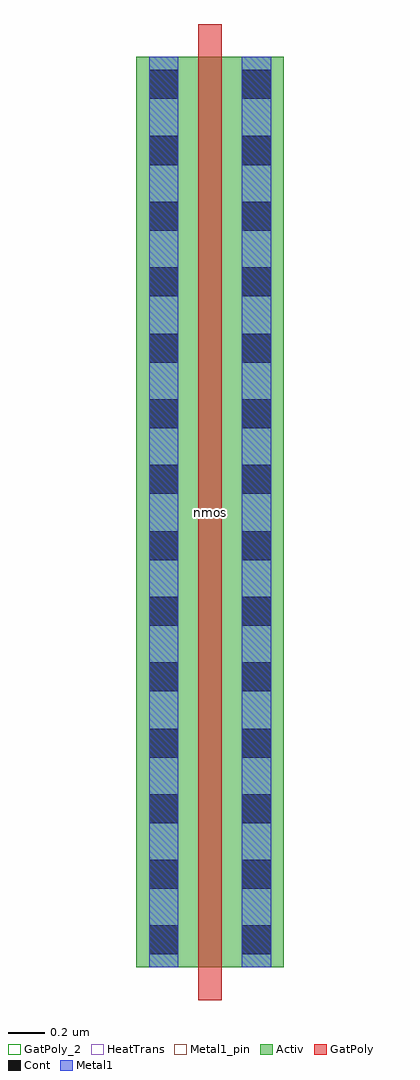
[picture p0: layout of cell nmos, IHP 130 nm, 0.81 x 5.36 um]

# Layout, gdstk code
import gdstk
lib = gdstk.Library(unit=1e-6, precision=1e-09)
def R(c, l, rs):  # rectangles x0, y0, x1, y1
    for r in rs: c.add(gdstk.rectangle(r[:2], r[2:], *l))
def A(c, l, x, y, w, h, nx, ny, dx, dy):  # array of equal rectangles
    R(c, l, [(x+i*dx, y+j*dy, x+i*dx+w, y+j*dy+h) for i in range(nx) for j in range(ny)])
Activ = (1, 0)
GatPoly = (5, 0)
GatPoly_2 = (5, 2)
Cont = (6, 0)
Metal1 = (8, 0)
Metal1_pin = (8, 2)
HeatTrans = (51, 0)

nmos = lib.new_cell('nmos')
R(nmos, Activ, [(0,0,0.3,0.3), (0,0,0.81,5), (0.51,0,0.81,0.3)])
R(nmos, GatPoly, [(0.34,-0.18,0.47,5.18)])
R(nmos, GatPoly_2, [(0.34,-0.18,0.47,5.18)])
A(nmos, Cont, 0.07, 0.07, 0.16, 0.16, 1, 4, 0, 0.36)
A(nmos, Cont, 0.58, 0.07, 0.16, 0.16, 1, 4, 0, 0.36)
A(nmos, Cont, 0.07, 1.515, 0.16, 0.16, 1, 3, 0, 0.36)
A(nmos, Cont, 0.58, 1.515, 0.16, 0.16, 1, 3, 0, 0.36)
A(nmos, Cont, 0.07, 2.6, 0.16, 0.16, 1, 3, 0, 0.36)
A(nmos, Cont, 0.58, 2.6, 0.16, 0.16, 1, 3, 0, 0.36)
A(nmos, Cont, 0.07, 3.685, 0.16, 0.16, 1, 3, 0, 0.36)
A(nmos, Cont, 0.58, 3.685, 0.16, 0.16, 1, 3, 0, 0.36)
R(nmos, Cont, [(0.07,4.77,0.23,4.93), (0.58,4.77,0.74,4.93)])
R(nmos, Metal1, [(0.07,0,0.23,5), (0.58,0,0.74,5)])
R(nmos, Metal1_pin, [(0.07,0,0.23,5), (0.58,0,0.74,5)])
R(nmos, HeatTrans, [(0.34,-0.18,0.47,5.18)])
nmos.add(gdstk.Label('nmos', (0.405,2.5), layer=63, texttype=0))
nmos.add(gdstk.Label('nmos', (0.405,2.5), layer=51, texttype=0))

lib.write_gds('nmos.gds')
